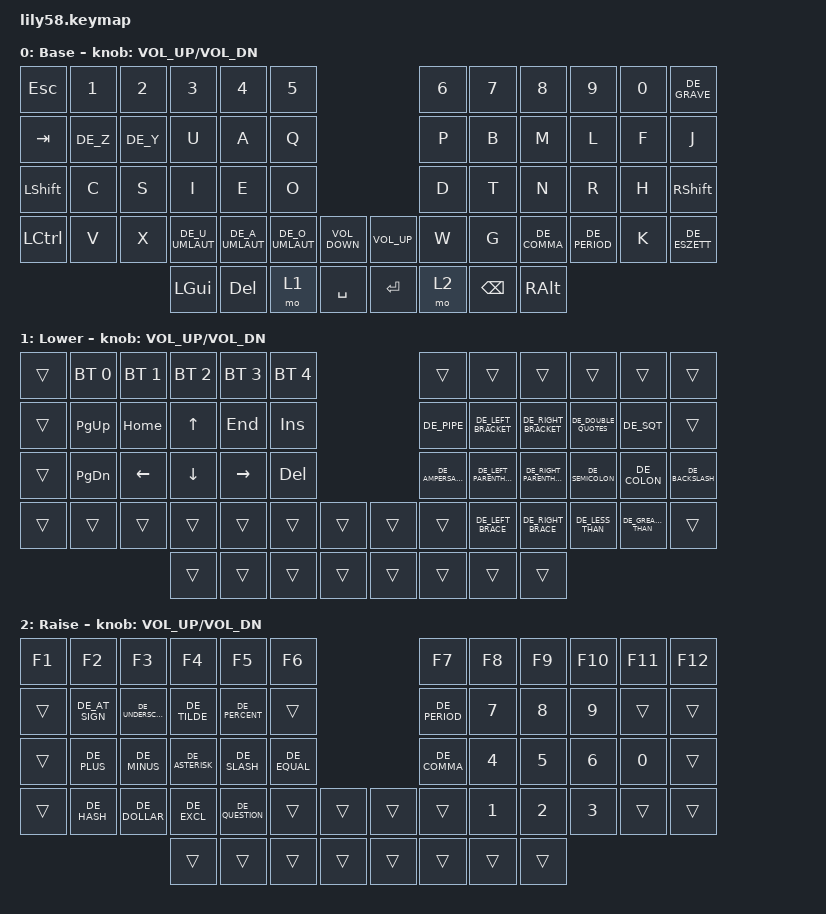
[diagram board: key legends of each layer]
/*
 * Copyright (c) 2020 The ZMK Contributors
 *
 * SPDX-License-Identifier: MIT
 */

#include <behaviors.dtsi>
#include <dt-bindings/zmk/bt.h>
#include <dt-bindings/zmk/keys.h>

/*
 * Localized Keys for German
 *
 * This file was generated from data with the following license:
 *
 * UNICODE, INC. LICENSE AGREEMENT - DATA FILES AND SOFTWARE
 * 
 * See Terms of Use <https://www.unicode.org/copyright.html>
 * for definitions of Unicode Inc.’s Data Files and Software.
 * 
 * NOTICE TO USER: Carefully read the following legal agreement.
 * BY DOWNLOADING, INSTALLING, COPYING OR OTHERWISE USING UNICODE INC.'S
 * DATA FILES ("DATA FILES"), AND/OR SOFTWARE ("SOFTWARE"),
 * YOU UNEQUIVOCALLY ACCEPT, AND AGREE TO BE BOUND BY, ALL OF THE
 * TERMS AND CONDITIONS OF THIS AGREEMENT.
 * IF YOU DO NOT AGREE, DO NOT DOWNLOAD, INSTALL, COPY, DISTRIBUTE OR USE
 * THE DATA FILES OR SOFTWARE.
 * 
 * COPYRIGHT AND PERMISSION NOTICE
 * 
 * Copyright © 1991-2023 Unicode, Inc. All rights reserved.
 * Distributed under the Terms of Use in https://www.unicode.org/copyright.html.
 * 
 * Permission is hereby granted, free of charge, to any person obtaining
 * a copy of the Unicode data files and any associated documentation
 * (the "Data Files") or Unicode software and any associated documentation
 * (the "Software") to deal in the Data Files or Software
 * without restriction, including without limitation the rights to use,
 * copy, modify, merge, publish, distribute, and/or sell copies of
 * the Data Files or Software, and to permit persons to whom the Data Files
 * or Software are furnished to do so, provided that either
 * (a) this copyright and permission notice appear with all copies
 * of the Data Files or Software, or
 * (b) this copyright and permission notice appear in associated
 * Documentation.
 * 
 * THE DATA FILES AND SOFTWARE ARE PROVIDED "AS IS", WITHOUT WARRANTY OF
 * ANY KIND, EXPRESS OR IMPLIED, INCLUDING BUT NOT LIMITED TO THE
 * WARRANTIES OF MERCHANTABILITY, FITNESS FOR A PARTICULAR PURPOSE AND
 * NONINFRINGEMENT OF THIRD PARTY RIGHTS.
 * IN NO EVENT SHALL THE COPYRIGHT HOLDER OR HOLDERS INCLUDED IN THIS
 * NOTICE BE LIABLE FOR ANY CLAIM, OR ANY SPECIAL INDIRECT OR CONSEQUENTIAL
 * DAMAGES, OR ANY DAMAGES WHATSOEVER RESULTING FROM LOSS OF USE,
 * DATA OR PROFITS, WHETHER IN AN ACTION OF CONTRACT, NEGLIGENCE OR OTHER
 * TORTIOUS ACTION, ARISING OUT OF OR IN CONNECTION WITH THE USE OR
 * PERFORMANCE OF THE DATA FILES OR SOFTWARE.
 * 
 * Except as contained in this notice, the name of a copyright holder
 * shall not be used in advertising or otherwise to promote the sale,
 * use or other dealings in these Data Files or Software without prior
 * written authorization of the copyright holder.
 */

#pragma once

#include <dt-bindings/zmk/hid_usage.h>
#include <dt-bindings/zmk/hid_usage_pages.h>
#include <dt-bindings/zmk/modifiers.h>

#define DE_ESCAPE_CHARACTER (LC(ZMK_HID_USAGE(HID_USAGE_KEY, HID_USAGE_KEY_KEYBOARD_LEFT_BRACKET_AND_LEFT_BRACE)))

#define DE_FILE_SEPARATOR (LC(ZMK_HID_USAGE(HID_USAGE_KEY, HID_USAGE_KEY_KEYBOARD_BACKSLASH_AND_PIPE)))

#define DE_GROUP_SEPARATOR (LC(ZMK_HID_USAGE(HID_USAGE_KEY, HID_USAGE_KEY_KEYBOARD_RIGHT_BRACKET_AND_RIGHT_BRACE)))

#define DE_SPACE (ZMK_HID_USAGE(HID_USAGE_KEY, HID_USAGE_KEY_KEYBOARD_SPACEBAR))

/* ! */
#define DE_EXCLAMATION (LS(ZMK_HID_USAGE(HID_USAGE_KEY, HID_USAGE_KEY_KEYBOARD_1_AND_EXCLAMATION)))
#define DE_EXCL (DE_EXCLAMATION)

/* " */
#define DE_DOUBLE_QUOTES (LS(ZMK_HID_USAGE(HID_USAGE_KEY, HID_USAGE_KEY_KEYBOARD_2_AND_AT)))
#define DE_DQT (DE_DOUBLE_QUOTES)

/* # */
#define DE_HASH (ZMK_HID_USAGE(HID_USAGE_KEY, HID_USAGE_KEY_KEYBOARD_BACKSLASH_AND_PIPE))
#define DE_POUND (DE_HASH)

/* $ */
#define DE_DOLLAR (LS(ZMK_HID_USAGE(HID_USAGE_KEY, HID_USAGE_KEY_KEYBOARD_4_AND_DOLLAR)))
#define DE_DLLR (DE_DOLLAR)

/* % */
#define DE_PERCENT (LS(ZMK_HID_USAGE(HID_USAGE_KEY, HID_USAGE_KEY_KEYBOARD_5_AND_PERCENT)))
#define DE_PRCNT (DE_PERCENT)

/* & */
#define DE_AMPERSAND (LS(ZMK_HID_USAGE(HID_USAGE_KEY, HID_USAGE_KEY_KEYBOARD_6_AND_CARET)))
#define DE_AMPS (DE_AMPERSAND)

/* ' */
#define DE_SINGLE_QUOTE (LS(ZMK_HID_USAGE(HID_USAGE_KEY, HID_USAGE_KEY_KEYBOARD_BACKSLASH_AND_PIPE)))
#define DE_SQT (DE_SINGLE_QUOTE)
#define DE_APOSTROPHE (DE_SINGLE_QUOTE)
#define DE_APOS (DE_SINGLE_QUOTE)

/* ( */
#define DE_LEFT_PARENTHESIS (LS(ZMK_HID_USAGE(HID_USAGE_KEY, HID_USAGE_KEY_KEYBOARD_8_AND_ASTERISK)))
#define DE_LPAR (DE_LEFT_PARENTHESIS)

/* ) */
#define DE_RIGHT_PARENTHESIS (LS(ZMK_HID_USAGE(HID_USAGE_KEY, HID_USAGE_KEY_KEYBOARD_9_AND_LEFT_PARENTHESIS)))
#define DE_RPAR (DE_RIGHT_PARENTHESIS)

/* * */
#define DE_ASTERISK (LS(ZMK_HID_USAGE(HID_USAGE_KEY, HID_USAGE_KEY_KEYBOARD_RIGHT_BRACKET_AND_RIGHT_BRACE)))
#define DE_ASTRK (DE_ASTERISK)
#define DE_STAR (DE_ASTERISK)

/* + */
#define DE_PLUS (ZMK_HID_USAGE(HID_USAGE_KEY, HID_USAGE_KEY_KEYBOARD_RIGHT_BRACKET_AND_RIGHT_BRACE))

/* , */
#define DE_COMMA (ZMK_HID_USAGE(HID_USAGE_KEY, HID_USAGE_KEY_KEYBOARD_COMMA_AND_LESS_THAN))

/* - */
#define DE_MINUS (ZMK_HID_USAGE(HID_USAGE_KEY, HID_USAGE_KEY_KEYBOARD_SLASH_AND_QUESTION_MARK))

/* . */
#define DE_PERIOD (ZMK_HID_USAGE(HID_USAGE_KEY, HID_USAGE_KEY_KEYBOARD_PERIOD_AND_GREATER_THAN))
#define DE_DOT (DE_PERIOD)

/* / */
#define DE_SLASH (LS(ZMK_HID_USAGE(HID_USAGE_KEY, HID_USAGE_KEY_KEYBOARD_7_AND_AMPERSAND)))
#define DE_FSLH (DE_SLASH)

/* 0 */
#define DE_N0 (ZMK_HID_USAGE(HID_USAGE_KEY, HID_USAGE_KEY_KEYBOARD_0_AND_RIGHT_PARENTHESIS))

/* 1 */
#define DE_N1 (ZMK_HID_USAGE(HID_USAGE_KEY, HID_USAGE_KEY_KEYBOARD_1_AND_EXCLAMATION))

/* 2 */
#define DE_N2 (ZMK_HID_USAGE(HID_USAGE_KEY, HID_USAGE_KEY_KEYBOARD_2_AND_AT))

/* 3 */
#define DE_N3 (ZMK_HID_USAGE(HID_USAGE_KEY, HID_USAGE_KEY_KEYBOARD_3_AND_HASH))

/* 4 */
#define DE_N4 (ZMK_HID_USAGE(HID_USAGE_KEY, HID_USAGE_KEY_KEYBOARD_4_AND_DOLLAR))

/* 5 */
#define DE_N5 (ZMK_HID_USAGE(HID_USAGE_KEY, HID_USAGE_KEY_KEYBOARD_5_AND_PERCENT))

/* 6 */
#define DE_N6 (ZMK_HID_USAGE(HID_USAGE_KEY, HID_USAGE_KEY_KEYBOARD_6_AND_CARET))

/* 7 */
#define DE_N7 (ZMK_HID_USAGE(HID_USAGE_KEY, HID_USAGE_KEY_KEYBOARD_7_AND_AMPERSAND))

/* 8 */
#define DE_N8 (ZMK_HID_USAGE(HID_USAGE_KEY, HID_USAGE_KEY_KEYBOARD_8_AND_ASTERISK))

/* 9 */
#define DE_N9 (ZMK_HID_USAGE(HID_USAGE_KEY, HID_USAGE_KEY_KEYBOARD_9_AND_LEFT_PARENTHESIS))

/* : */
#define DE_COLON (LS(ZMK_HID_USAGE(HID_USAGE_KEY, HID_USAGE_KEY_KEYBOARD_PERIOD_AND_GREATER_THAN)))

/* ; */
#define DE_SEMICOLON (LS(ZMK_HID_USAGE(HID_USAGE_KEY, HID_USAGE_KEY_KEYBOARD_COMMA_AND_LESS_THAN)))
#define DE_SEMI (DE_SEMICOLON)

/* < */
#define DE_LESS_THAN (ZMK_HID_USAGE(HID_USAGE_KEY, HID_USAGE_KEY_KEYBOARD_NON_US_BACKSLASH_AND_PIPE))
#define DE_LT (DE_LESS_THAN)

/* = */
#define DE_EQUAL (LS(ZMK_HID_USAGE(HID_USAGE_KEY, HID_USAGE_KEY_KEYBOARD_0_AND_RIGHT_PARENTHESIS)))

/* > */
#define DE_GREATER_THAN (LS(ZMK_HID_USAGE(HID_USAGE_KEY, HID_USAGE_KEY_KEYBOARD_NON_US_BACKSLASH_AND_PIPE)))
#define DE_GT (DE_GREATER_THAN)

/* ? */
#define DE_QUESTION (LS(ZMK_HID_USAGE(HID_USAGE_KEY, HID_USAGE_KEY_KEYBOARD_MINUS_AND_UNDERSCORE)))
#define DE_QMARK (DE_QUESTION)

/* @ */
#define DE_AT_SIGN (RA(ZMK_HID_USAGE(HID_USAGE_KEY, HID_USAGE_KEY_KEYBOARD_Q)))
#define DE_AT (DE_AT_SIGN)

/* [ */
#define DE_LEFT_BRACKET (RA(ZMK_HID_USAGE(HID_USAGE_KEY, HID_USAGE_KEY_KEYBOARD_8_AND_ASTERISK)))
#define DE_LBKT (DE_LEFT_BRACKET)

/* \ */
#define DE_BACKSLASH (RA(ZMK_HID_USAGE(HID_USAGE_KEY, HID_USAGE_KEY_KEYBOARD_MINUS_AND_UNDERSCORE)))
#define DE_BSLH (DE_BACKSLASH)

/* ] */
#define DE_RIGHT_BRACKET (RA(ZMK_HID_USAGE(HID_USAGE_KEY, HID_USAGE_KEY_KEYBOARD_9_AND_LEFT_PARENTHESIS)))
#define DE_RBKT (DE_RIGHT_BRACKET)

/* ^ */
#define DE_CARET (ZMK_HID_USAGE(HID_USAGE_KEY, HID_USAGE_KEY_KEYBOARD_GRAVE_ACCENT_AND_TILDE))

/* _ */
#define DE_UNDERSCORE (LS(ZMK_HID_USAGE(HID_USAGE_KEY, HID_USAGE_KEY_KEYBOARD_SLASH_AND_QUESTION_MARK)))
#define DE_UNDER (DE_UNDERSCORE)

/* ` */
#define DE_GRAVE (LS(ZMK_HID_USAGE(HID_USAGE_KEY, HID_USAGE_KEY_KEYBOARD_EQUAL_AND_PLUS)))

/* a */
#define DE_A (ZMK_HID_USAGE(HID_USAGE_KEY, HID_USAGE_KEY_KEYBOARD_A))

/* b */
#define DE_B (ZMK_HID_USAGE(HID_USAGE_KEY, HID_USAGE_KEY_KEYBOARD_B))

/* c */
#define DE_C (ZMK_HID_USAGE(HID_USAGE_KEY, HID_USAGE_KEY_KEYBOARD_C))

/* d */
#define DE_D (ZMK_HID_USAGE(HID_USAGE_KEY, HID_USAGE_KEY_KEYBOARD_D))

/* e */
#define DE_E (ZMK_HID_USAGE(HID_USAGE_KEY, HID_USAGE_KEY_KEYBOARD_E))

/* f */
#define DE_F (ZMK_HID_USAGE(HID_USAGE_KEY, HID_USAGE_KEY_KEYBOARD_F))

/* g */
#define DE_G (ZMK_HID_USAGE(HID_USAGE_KEY, HID_USAGE_KEY_KEYBOARD_G))

/* h */
#define DE_H (ZMK_HID_USAGE(HID_USAGE_KEY, HID_USAGE_KEY_KEYBOARD_H))

/* i */
#define DE_I (ZMK_HID_USAGE(HID_USAGE_KEY, HID_USAGE_KEY_KEYBOARD_I))

/* j */
#define DE_J (ZMK_HID_USAGE(HID_USAGE_KEY, HID_USAGE_KEY_KEYBOARD_J))

/* k */
#define DE_K (ZMK_HID_USAGE(HID_USAGE_KEY, HID_USAGE_KEY_KEYBOARD_K))

/* l */
#define DE_L (ZMK_HID_USAGE(HID_USAGE_KEY, HID_USAGE_KEY_KEYBOARD_L))

/* m */
#define DE_M (ZMK_HID_USAGE(HID_USAGE_KEY, HID_USAGE_KEY_KEYBOARD_M))

/* n */
#define DE_N (ZMK_HID_USAGE(HID_USAGE_KEY, HID_USAGE_KEY_KEYBOARD_N))

/* o */
#define DE_O (ZMK_HID_USAGE(HID_USAGE_KEY, HID_USAGE_KEY_KEYBOARD_O))

/* p */
#define DE_P (ZMK_HID_USAGE(HID_USAGE_KEY, HID_USAGE_KEY_KEYBOARD_P))

/* q */
#define DE_Q (ZMK_HID_USAGE(HID_USAGE_KEY, HID_USAGE_KEY_KEYBOARD_Q))

/* r */
#define DE_R (ZMK_HID_USAGE(HID_USAGE_KEY, HID_USAGE_KEY_KEYBOARD_R))

/* s */
#define DE_S (ZMK_HID_USAGE(HID_USAGE_KEY, HID_USAGE_KEY_KEYBOARD_S))

/* t */
#define DE_T (ZMK_HID_USAGE(HID_USAGE_KEY, HID_USAGE_KEY_KEYBOARD_T))

/* u */
#define DE_U (ZMK_HID_USAGE(HID_USAGE_KEY, HID_USAGE_KEY_KEYBOARD_U))

/* v */
#define DE_V (ZMK_HID_USAGE(HID_USAGE_KEY, HID_USAGE_KEY_KEYBOARD_V))

/* w */
#define DE_W (ZMK_HID_USAGE(HID_USAGE_KEY, HID_USAGE_KEY_KEYBOARD_W))

/* x */
#define DE_X (ZMK_HID_USAGE(HID_USAGE_KEY, HID_USAGE_KEY_KEYBOARD_X))

/* y */
#define DE_Y (ZMK_HID_USAGE(HID_USAGE_KEY, HID_USAGE_KEY_KEYBOARD_Z))

/* z */
#define DE_Z (ZMK_HID_USAGE(HID_USAGE_KEY, HID_USAGE_KEY_KEYBOARD_Y))

/* { */
#define DE_LEFT_BRACE (RA(ZMK_HID_USAGE(HID_USAGE_KEY, HID_USAGE_KEY_KEYBOARD_7_AND_AMPERSAND)))
#define DE_LBRC (DE_LEFT_BRACE)

/* | */
#define DE_PIPE (RA(ZMK_HID_USAGE(HID_USAGE_KEY, HID_USAGE_KEY_KEYBOARD_NON_US_BACKSLASH_AND_PIPE)))

/* } */
#define DE_RIGHT_BRACE (RA(ZMK_HID_USAGE(HID_USAGE_KEY, HID_USAGE_KEY_KEYBOARD_0_AND_RIGHT_PARENTHESIS)))
#define DE_RBRC (DE_RIGHT_BRACE)

/* ~ */
#define DE_TILDE (RA(ZMK_HID_USAGE(HID_USAGE_KEY, HID_USAGE_KEY_KEYBOARD_RIGHT_BRACKET_AND_RIGHT_BRACE)))

/* § */
#define DE_SECTION (LS(ZMK_HID_USAGE(HID_USAGE_KEY, HID_USAGE_KEY_KEYBOARD_3_AND_HASH)))
#define DE_SECT (DE_SECTION)

/* ° */
#define DE_DEGREE (LS(ZMK_HID_USAGE(HID_USAGE_KEY, HID_USAGE_KEY_KEYBOARD_GRAVE_ACCENT_AND_TILDE)))
#define DE_DEG (DE_DEGREE)

/* ² */
#define DE_SUPER2 (RA(ZMK_HID_USAGE(HID_USAGE_KEY, HID_USAGE_KEY_KEYBOARD_2_AND_AT)))
#define DE_SQUARE (DE_SUPER2)

/* ³ */
#define DE_SUPER3 (RA(ZMK_HID_USAGE(HID_USAGE_KEY, HID_USAGE_KEY_KEYBOARD_3_AND_HASH)))
#define DE_CUBE (DE_SUPER3)

/* ´ */
#define DE_ACUTE (ZMK_HID_USAGE(HID_USAGE_KEY, HID_USAGE_KEY_KEYBOARD_EQUAL_AND_PLUS))

/* µ */
#define DE_MU (RA(ZMK_HID_USAGE(HID_USAGE_KEY, HID_USAGE_KEY_KEYBOARD_M)))
#define DE_MICRO (DE_MU)

/* ß */
#define DE_SHARP_S (ZMK_HID_USAGE(HID_USAGE_KEY, HID_USAGE_KEY_KEYBOARD_MINUS_AND_UNDERSCORE))
#define DE_ESZETT (DE_SHARP_S)
#define DE_SZ (DE_SHARP_S)

/* ẞ */
#define DE_CAPITAL_SHARP_S (LS(RA(ZMK_HID_USAGE(HID_USAGE_KEY, HID_USAGE_KEY_KEYBOARD_MINUS_AND_UNDERSCORE))))
#define DE_CAPITAL_ESZETT (DE_CAPITAL_SHARP_S)
#define DE_CAPITAL_SZ (DE_CAPITAL_SHARP_S)

/* ä */
#define DE_A_UMLAUT (ZMK_HID_USAGE(HID_USAGE_KEY, HID_USAGE_KEY_KEYBOARD_APOSTROPHE_AND_QUOTE))

/* ö */
#define DE_O_UMLAUT (ZMK_HID_USAGE(HID_USAGE_KEY, HID_USAGE_KEY_KEYBOARD_SEMICOLON_AND_COLON))

/* ü */
#define DE_U_UMLAUT (ZMK_HID_USAGE(HID_USAGE_KEY, HID_USAGE_KEY_KEYBOARD_LEFT_BRACKET_AND_LEFT_BRACE))

/* € */
#define DE_EURO (RA(ZMK_HID_USAGE(HID_USAGE_KEY, HID_USAGE_KEY_KEYBOARD_E)))

/ {
    keymap {
        compatible = "zmk,keymap";

        default_layer {
            // ------------------------------------------------------------------------------------------------------------
            // |  ESC  |  1  |  2  |  3   |  4   |  5   |                   |  6   |  7    |  8    |  9   |   0   |   `   |
            // |  TAB  |  Q  |  W  |  E   |  R   |  T   |                   |  Y   |  U    |  I    |  O   |   P   |   -   |
            // |  CTRL |  A  |  S  |  D   |  F   |  G   |                   |  H   |  J    |  K    |  L   |   ;   |   '   |
            // | SHIFT |  Z  |  X  |  C   |  V   |  B   |   "["  |  |  "]"  |  N   |  M    |  ,    |  .   |   /   | SHIFT |
            //                     | ALT  | GUI  | LOWER|  SPACE |  | ENTER | RAISE| BSPC  | GUI   |

            display-name = "Base";
            bindings = <
&kp ESC     &kp N1  &kp N2  &kp N3    &kp N4   &kp N5                                        &kp N6  &kp N7    &kp N8     &kp N9      &kp N0  &kp DE_GRAVE
&kp TAB     &kp DE_Z   &kp DE_Y   &kp U     &kp A    &kp Q                                         &kp P   &kp B     &kp M      &kp L       &kp F   &kp J
&kp LSHIFT  &kp C   &kp S   &kp I     &kp E    &kp O                                         &kp D   &kp T     &kp N      &kp R       &kp H   &kp RSHFT
&kp LCTRL   &kp V   &kp X   &kp DE_U_UMLAUT     &kp DE_A_UMLAUT    &kp DE_O_UMLAUT   &kp C_VOLUME_DOWN    &kp C_VOLUME_UP  &kp W   &kp G     &kp DE_COMMA  &kp DE_PERIOD  &kp K   &kp DE_ESZETT
                            &kp LGUI  &kp DEL  &mo 1   &kp SPACE            &kp RET          &mo 2   &kp BSPC  &kp RALT
            >;

            sensor-bindings = <&inc_dec_kp C_VOL_UP C_VOL_DN>;
        };

        lower_layer {
            // ------------------------------------------------------------------------------------------------------------
            // | BTCLR | BT1 | BT2 |  BT3 |  BT4 |  BT5 |                   |      |       |       |      |       |       |
            // |  F1   |  F2 |  F3 |  F4  |  F5  |  F6  |                   |  F7  |  F8   |  F9   |  F10 |  F11  |  F12  |
            // |   `   |  !  |  @  |  #   |  $   |  %   |                   |  ^   |  &    |  *    |  (   |   )   |   ~   |
            // |       |     |     |      |      |      |        |  |       |      |  _    |  +    |  {   |   }   |  "|"  |
            //                     |      |      |      |        |  |       |      |       |       |

            display-name = "Lower";
            bindings = <
&trans  &bt BT_SEL 0   &bt BT_SEL 1  &bt BT_SEL 2  &bt BT_SEL 3  &bt BT_SEL 4                    &trans         &trans                &trans                 &trans             &trans            &trans
&trans  &kp PG_UP      &kp HOME      &kp UP        &kp END       &kp INS                         &kp DE_PIPE       &kp DE_LEFT_BRACKET      &kp DE_RIGHT_BRACKET      &kp DE_DOUBLE_QUOTES  &kp DE_SQT           &trans
&trans  &kp PAGE_DOWN  &kp LEFT      &kp DOWN      &kp RIGHT     &kp DELETE                      &kp DE_AMPERSAND  &kp DE_LEFT_PARENTHESIS  &kp DE_RIGHT_PARENTHESIS  &kp DE_SEMICOLON      &kp DE_COLON         &kp DE_BACKSLASH
&trans  &trans         &trans        &trans        &trans        &trans        &trans    &trans  &trans         &kp DE_LEFT_BRACE        &kp DE_RIGHT_BRACE        &kp DE_LESS_THAN      &kp DE_GREATER_THAN  &trans
                                     &trans        &trans        &trans        &trans    &trans  &trans         &trans                &trans
            >;

            sensor-bindings = <&inc_dec_kp C_VOL_UP C_VOL_DN>;
        };

        raise_layer {
            // ------------------------------------------------------------------------------------------------------------
            // |       |     |     |      |      |      |                   |      |       |       |      |       |       |
            // |   `   |  1  |  2  |  3   |  4   |  5   |                   |  6   |   7   |   8   |  9   |   0   |       |
            // |   F1  |  F2 |  F3 |  F4  |  F5  |  F6  |                   |      |   <-  |   v   |  ^   |  ->   |       |
            // |   F7  |  F8 |  F9 |  F10 |  F11 |  F12 |        |  |       |  +   |   -   |   =   |  [   |   ]   |   \   |
            //                     |      |      |      |        |  |       |      |       |       |

            display-name = "Raise";
            bindings = <
&kp F1  &kp F2       &kp F3          &kp F4           &kp F5        &kp F6                       &kp F7      &kp F8        &kp F9        &kp F10       &kp F11  &kp F12
&trans  &kp DE_AT_SIGN  &kp DE_UNDERSCORE  &kp DE_TILDE        &kp DE_PERCENT   &trans                       &kp DE_PERIOD  &kp N7        &kp N8        &kp N9        &trans   &trans
&trans  &kp DE_PLUS     &kp DE_MINUS       &kp DE_ASTERISK     &kp DE_SLASH     &kp DE_EQUAL                    &kp DE_COMMA   &kp NUMBER_4  &kp N5        &kp NUMBER_6  &kp N0   &trans
&trans  &kp DE_HASH     &kp DE_DOLLAR      &kp DE_EXCL  &kp DE_QUESTION  &trans     &trans    &trans  &trans      &kp NUMBER_1  &kp NUMBER_2  &kp NUMBER_3  &trans   &trans
                                     &trans           &trans        &trans     &trans    &trans  &trans      &trans        &trans
            >;

            sensor-bindings = <&inc_dec_kp C_VOL_UP C_VOL_DN>;
        };
    };
};
